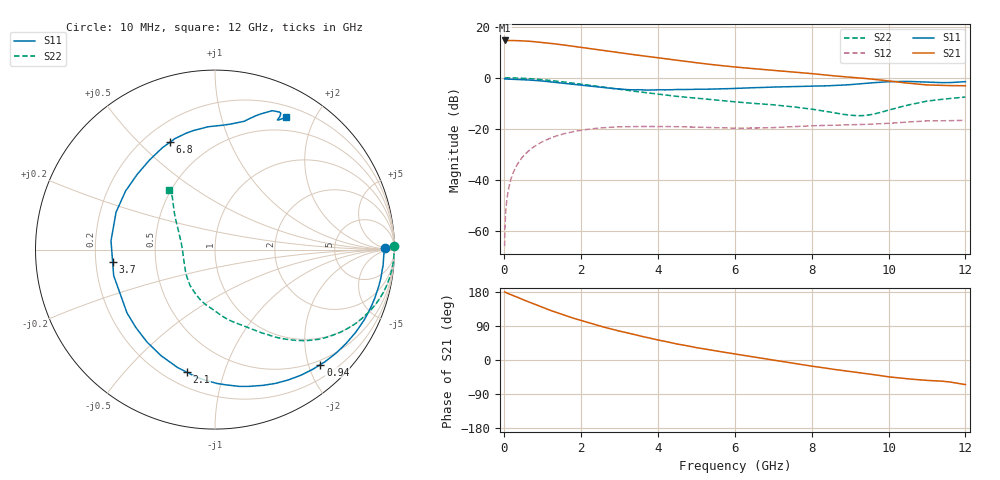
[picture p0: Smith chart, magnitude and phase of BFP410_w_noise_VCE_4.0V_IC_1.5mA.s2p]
! Infineon Technologies  Discrete & RF Semiconductors
! BFP410
! VCE =  4.0 V,  IC =  1.5 mA
! Common Emitter S-Parameters:  Nov 2015
# GHz  S  MA  R  50
!  f  S11  S21  S12  S22
! GHz  MAG  ANG  MAG  ANG  MAG  ANG  MAG  ANG
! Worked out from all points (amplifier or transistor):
!   243 points, 10 MHz to 12 GHz, reference 50 ohm
!   highest |S21| = 14.6 dB at 10 MHz (marker M1)
!   |S21| within 3 dB of that: start of sweep to 2.136 GHz
!   unconditionally stable (mu >= 1): 4.365 GHz to end of sweep
!   at 240 MHz: K = 0.05, MSG = 25.8 dB, |S12| = -37.0 dB
!   at 1.84 GHz: K = 0.32, MSG = 16.6 dB, |S12| = -21.0 dB
!   at 12 GHz: K = 1.18, MAG = 4.2 dB, |S12| = -16.7 dB
!   lowest NFmin = 0.80 dB at 900 MHz
!   S11 on the Smith chart (normalised r, x): 10 MHz: 37, +5; 940 MHz: 0.42, -2.21; 2.1 GHz: 0.28, -0.76; 3.7 GHz: 0.27, -0.05; 6.8 GHz: 0.30, +0.62; 12 GHz: 0.33, +1.63
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0.01  0.9489 0.4  5.385 179.3  0.0005 18.2  1 1.1
0.025  0.9422 -0.6  5.349 178.9  0.0015 76.3  0.9918 0.2
0.06  0.9405 -2.7  5.344 177.1  0.0036 83.4  0.9975 -1.0
0.2  0.9375 -10.0  5.367 171.6  0.0118 83.2  0.9948 -4.8
0.5  0.9189 -25.3  5.282 158.9  0.0293 75.9  0.9759 -12.1
0.7  0.8987 -35.4  5.17 150.6  0.0405 70.4  0.9557 -16.8
0.94  0.869 -47.5  4.973 141.1  0.0531 63.8  0.9241 -22.2
1.2  0.8333 -60.6  4.735 131.0  0.0656 57.0  0.8843 -27.8
1.4  0.8027 -70.4  4.532 123.7  0.074 51.7  0.8517 -31.7
1.7  0.7582 -84.7  4.236 113.5  0.0847 44.5  0.802 -37.0
2.02  0.7137 -99.3  3.917 103.5  0.0939 37.5  0.7497 -42.1
2.1  0.7008 -103.0  3.843 101.1  0.0957 35.7  0.736 -43.3
2.8  0.6186 -135.5  3.252 81.3  0.1076 22.2  0.6219 -52.9
3.7  0.5744 -173.3  2.633 59.8  0.1109 9.6  0.5092 -62.9
4.1  0.5794 172.0  2.411 50.9  0.1109 5.3  0.4682 -67.5
5  0.5955 146.8  1.97 32.6  0.1079 -2.0  0.3975 -79.4
6.1  0.621 124.4  1.601 14.4  0.1031 -5.5  0.3326 -92.3
6.8  0.6486 112.8  1.437 3.1  0.1046 -5.8  0.3023 -102.4
8.2  0.6889 89.7  1.163 -19.0  0.1155 -9.4  0.2294 -130.3
9.2  0.755 75.2  0.995 -33.0  0.1207 -12.5  0.1801 -170.4
10.2  0.8415 66.2  0.833 -46.5  0.131 -15.0  0.2542 146.6
12  0.8384 61.7  0.698 -64.9  0.1464 -27.1  0.4185 128.0
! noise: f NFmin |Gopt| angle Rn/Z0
0.45  0.83  0.58  8  0.37
0.9  0.8  0.56  23  0.31
1.8  1.07  0.45  56  0.26
2.4  1.14  0.41  67  0.25
5.5  2.37  0.4  -150  0.18
10  4.33  0.72  -58  2.98
